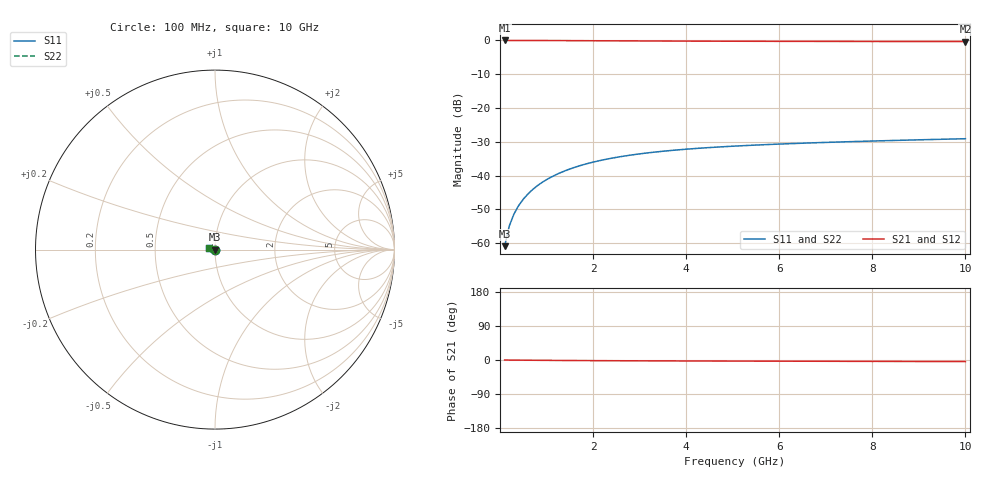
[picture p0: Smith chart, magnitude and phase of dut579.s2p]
! Touchstone file exported from HFSS 2024.1.0
!  File:  C:/UserFiles/LocalFiles/RDL_TSV_Batchsim/temp_TSV1_579_1779709096.aedt
!  Generated:  07:46:06 PM May 25, 2026
!  Design:  TSV1
!  Project:  temp_TSV1_579_1779709096
!  Setup:  Setup1
!  Solution:  Sweep
! Variables:
!  dtsv = 9.59um
!  hbump = 3um
!  htsv = 62.37um
!  lrdl = 252.1521522um
!  p = 40
!  p1 = 51.51um
!  t = 500um
!  trdl = 3um
!  wrdl = 24.89489489um
# GHz S MA R 50.000000
! Terminal data exported
! Port[1] = TSV22_T1
! Port[2] = TSV22_T2
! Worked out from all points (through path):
!   100 points, 100 MHz to 10 GHz, reference 50 ohm
!   highest |S21| = 0.00 dB at 100 MHz (marker M1); lowest = -0.3 dB at 10 GHz (marker M2)
!   lowest |S11| = -60.9 dB at 100 MHz (marker M3), VSWR 1.00, Z = 50 - j0.0899 ohm
!   |S11| at or under -10 dB: start of sweep to end of sweep
!   |S22| runs from -60.9 to -29.1 dB; largest |S21 - S12| = 6.1e-15
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0.1  0.0009048 -83.3  0.9998 -0.1  0.9998 -0.1  0.0009048 -83.3
! Gamma 0 0 0 0
! Port Impedance 50 0 50 0
0.2  0.001798 -89.3  0.9997 -0.2  0.9997 -0.2  0.001798 -89.3
0.3  0.002695 -92.6  0.9996 -0.3  0.9996 -0.3  0.002695 -92.6
0.4  0.003588 -95.3  0.9993 -0.4  0.9993 -0.4  0.003588 -95.3
0.5  0.004473 -97.7  0.9991 -0.5  0.9991 -0.5  0.004473 -97.7
0.6  0.005348 -99.9  0.9987 -0.6  0.9987 -0.6  0.005348 -99.9
0.7  0.006212 -102.0  0.9983 -0.7  0.9983 -0.7  0.006212 -102.0
0.8  0.007061 -104.0  0.9979 -0.8  0.9979 -0.8  0.007061 -104.0
0.9  0.007896 -106.0  0.9974 -0.9  0.9974 -0.9  0.007896 -106.0
1.1  0.009515 -109.9  0.9964 -1.0  0.9964 -1.0  0.009515 -109.9
1.4  0.0118 -115.3  0.9945 -1.3  0.9945 -1.3  0.0118 -115.3
1.6  0.01323 -118.8  0.9932 -1.4  0.9932 -1.4  0.01323 -118.8
1.8  0.01457 -122.1  0.9918 -1.5  0.9918 -1.5  0.01457 -122.1
2.1  0.01643 -126.8  0.9897 -1.7  0.9897 -1.7  0.01643 -126.8
2.5  0.01863 -132.6  0.9869 -1.9  0.9869 -1.9  0.01863 -132.6
2.9  0.02054 -138.0  0.9843 -2.1  0.9843 -2.1  0.02054 -138.0
3.4  0.02258 -144.0  0.9812 -2.3  0.9812 -2.3  0.02258 -144.0
4.2  0.0252 -152.5  0.977 -2.6  0.977 -2.6  0.0252 -152.5
5.1  0.02748 -160.6  0.9733 -2.9  0.9733 -2.9  0.02748 -160.6
6.7  0.03053 -172.3  0.9686 -3.3  0.9686 -3.3  0.03053 -172.3
8.4  0.03306 177.7  0.9654 -3.7  0.9654 -3.7  0.03306 177.7
10  0.03517 169.8  0.9633 -4.2  0.9633 -4.2  0.03517 169.8
